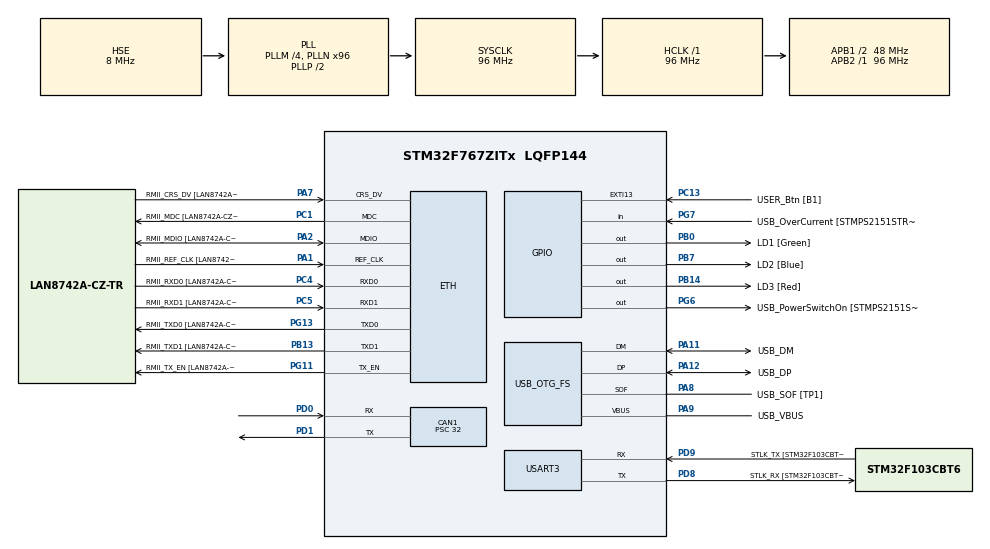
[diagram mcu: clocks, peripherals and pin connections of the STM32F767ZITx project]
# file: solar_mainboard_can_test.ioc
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CAN1.CalculateBaudRate=500000
CAN1.CalculateTimeBit=2000
CAN1.CalculateTimeQuantum=666.6666666666666
CAN1.NART=ENABLE
CAN1.Prescaler=32
ETH.MediaInterface=HAL_ETH_RMII_MODE
ETH.PHY_Name=LAN8742A_PHY_ADDRESS
ETH.PHY_Value=0
ETH.PhyAddress=0
Mcu.Family=STM32F7
Mcu.Name=STM32F767ZITx
Mcu.Package=LQFP144
NVIC.PriorityGroup=NVIC_PRIORITYGROUP_4
PA1.GPIO_Label=RMII_REF_CLK [LAN8742A-CZ-TR_REFCLK0]
PA1.Mode=RMII
PA1.Signal=ETH_REF_CLK
PA10.GPIO_Label=USB_ID
PA10.Signal=USB_OTG_FS_ID
PA11.GPIO_Label=USB_DM
PA11.Mode=Device_Only
PA11.Signal=USB_OTG_FS_DM
PA12.GPIO_Label=USB_DP
PA12.Mode=Device_Only
PA12.Signal=USB_OTG_FS_DP
PA13.GPIO_Label=TMS
PA13.Mode=Serial_Wire
PA13.Signal=SYS_JTMS-SWDIO
PA14.GPIO_Label=TCK
PA14.Mode=Serial_Wire
PA14.Signal=SYS_JTCK-SWCLK
PA2.GPIO_Label=RMII_MDIO [LAN8742A-CZ-TR_MDIO]
PA2.Mode=RMII
PA2.Signal=ETH_MDIO
PA7.GPIO_Label=RMII_CRS_DV [LAN8742A-CZ-TR_CRS_DV]
PA7.Mode=RMII
PA7.Signal=ETH_CRS_DV
PA8.GPIO_Label=USB_SOF [TP1]
PA8.Mode=Activate_SOF_FS
PA8.Signal=USB_OTG_FS_SOF
PA9.GPIO_Label=USB_VBUS
PA9.Mode=Activate_VBUS
PA9.Signal=USB_OTG_FS_VBUS
PB0.GPIO_Label=LD1 [Green]
PB0.Signal=GPIO_Output
PB13.GPIO_Label=RMII_TXD1 [LAN8742A-CZ-TR_TXD1]
PB13.Mode=RMII
PB13.Signal=ETH_TXD1
PB14.GPIO_Label=LD3 [Red]
PB14.Signal=GPIO_Output
PB3.GPIO_Label=SWO
PB3.Signal=SYS_JTDO-SWO
PB7.GPIO_Label=LD2 [Blue]
PB7.Signal=GPIO_Output
PC1.GPIO_Label=RMII_MDC [LAN8742A-CZ-TR_MDC]
PC1.Mode=RMII
PC1.Signal=ETH_MDC
PC13.GPIO_Label=USER_Btn [B1]
PC13.Signal=GPXTI13
PC14/OSC32_IN.Mode=LSE-External-Oscillator
PC14/OSC32_IN.Signal=RCC_OSC32_IN
PC15/OSC32_OUT.Mode=LSE-External-Oscillator
PC15/OSC32_OUT.Signal=RCC_OSC32_OUT
PC4.GPIO_Label=RMII_RXD0 [LAN8742A-CZ-TR_RXD0]
PC4.Mode=RMII
PC4.Signal=ETH_RXD0
PC5.GPIO_Label=RMII_RXD1 [LAN8742A-CZ-TR_RXD1]
PC5.Mode=RMII
PC5.Signal=ETH_RXD1
PD0.GPIO_PuPd=GPIO_PULLUP
PD0.Mode=CAN_Activate
PD0.Signal=CAN1_RX
PD1.Mode=CAN_Activate
PD1.Signal=CAN1_TX
PD8.GPIO_Label=STLK_RX [STM32F103CBT6_PA3]
PD8.Mode=Asynchronous
PD8.Signal=USART3_TX
PD9.GPIO_Label=STLK_TX [STM32F103CBT6_PA2]
PD9.Mode=Asynchronous
PD9.Signal=USART3_RX
PG11.GPIO_Label=RMII_TX_EN [LAN8742A-CZ-TR_TXEN]
PG11.Mode=RMII
PG11.Signal=ETH_TX_EN
PG13.GPIO_Label=RMII_TXD0 [LAN8742A-CZ-TR_TXD0]
PG13.Mode=RMII
PG13.Signal=ETH_TXD0
PG6.GPIO_Label=USB_PowerSwitchOn [STMPS2151STR_EN]
PG6.Signal=GPIO_Output
PG7.GPIO_Label=USB_OverCurrent [STMPS2151STR_FAULT]
PG7.Signal=GPIO_Input
PH0/OSC_IN.GPIO_Label=MCO [STM32F103CBT6_PA8]
PH0/OSC_IN.Mode=HSE-External-Clock-Source
PH0/OSC_IN.Signal=RCC_OSC_IN
PH1/OSC_OUT.Mode=HSE-External-Clock-Source
PH1/OSC_OUT.Signal=RCC_OSC_OUT
ProjectManager.HeapSize=0x200
ProjectManager.StackSize=0x400
ProjectManager.TargetToolchain=STM32CubeIDE
RCC.48MHZClocksFreq_Value=24000000
RCC.AHBFreq_Value=96000000
RCC.APB1CLKDivider=RCC_HCLK_DIV2
RCC.APB1Freq_Value=48000000
RCC.APB1TimFreq_Value=96000000
RCC.APB2Freq_Value=96000000
RCC.APB2TimFreq_Value=96000000
RCC.CortexFreq_Value=96000000
RCC.HCLKFreq_Value=96000000
RCC.HSE_VALUE=8000000
RCC.HSI_VALUE=16000000
RCC.PLLM=4
RCC.PLLMUL=RCC_PLL_MUL9
RCC.PLLN=96
RCC.PLLQ=4
RCC.PRESCALERUSB=RCC_USBCLKSOURCE_PLL_DIV1_5
RCC.SYSCLKFreq_VALUE=96000000
RCC.SYSCLKSource=RCC_SYSCLKSOURCE_PLLCLK
RCC.SYSCLKSourceVirtual=RCC_SYSCLKSOURCE_PLLCLK
RCC.USBFreq_Value=48000000
RCC.VCOOutputFreq_Value=192000000
USART3.VirtualMode-Asynchronous=VM_ASYNC
USB_OTG_FS.VirtualMode=Device_Only
board=NUCLEO-F767ZI

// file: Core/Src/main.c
/* USER CODE BEGIN Header */
/**
  ******************************************************************************
  * @file           : main.c
  * @brief          : Main program body
  ******************************************************************************
  * @attention
  *
  * Copyright (c) 2024 STMicroelectronics.
  * All rights reserved.
  *
  * This software is licensed under terms that can be found in the LICENSE file
  * in the root directory of this software component.
  * If no LICENSE file comes with this software, it is provided AS-IS.
  *
  ******************************************************************************
  */
/* USER CODE END Header */
#include "main.h"
#include "string.h"

#if defined ( __ICCARM__ ) /*!< IAR Compiler */
#pragma location=0x2007c000
ETH_DMADescTypeDef  DMARxDscrTab[ETH_RX_DESC_CNT]; /* Ethernet Rx DMA Descriptors */
#pragma location=0x2007c0a0
ETH_DMADescTypeDef  DMATxDscrTab[ETH_TX_DESC_CNT]; /* Ethernet Tx DMA Descriptors */

#elif defined ( __CC_ARM )  /* MDK ARM Compiler */

__attribute__((at(0x2007c000))) ETH_DMADescTypeDef  DMARxDscrTab[ETH_RX_DESC_CNT]; /* Ethernet Rx DMA Descriptors */
__attribute__((at(0x2007c0a0))) ETH_DMADescTypeDef  DMATxDscrTab[ETH_TX_DESC_CNT]; /* Ethernet Tx DMA Descriptors */

#elif defined ( __GNUC__ ) /* GNU Compiler */
ETH_DMADescTypeDef DMARxDscrTab[ETH_RX_DESC_CNT] __attribute__((section(".RxDecripSection"))); /* Ethernet Rx DMA Descriptors */
ETH_DMADescTypeDef DMATxDscrTab[ETH_TX_DESC_CNT] __attribute__((section(".TxDecripSection")));   /* Ethernet Tx DMA Descriptors */

#endif

ETH_TxPacketConfig TxConfig;

CAN_HandleTypeDef hcan1;

ETH_HandleTypeDef heth;

UART_HandleTypeDef huart3;

PCD_HandleTypeDef hpcd_USB_OTG_FS;

void SystemClock_Config(void);
static void MX_GPIO_Init(void);
static void MX_ETH_Init(void);
static void MX_USART3_UART_Init(void);
static void MX_USB_OTG_FS_PCD_Init(void);
static void MX_CAN1_Init(void);

/* USER CODE BEGIN 0 */
// print to serial port
void print(char *str) {
	HAL_UART_Transmit(&huart3, (uint8_t*) str, strlen(str), HAL_MAX_DELAY);
}
/* USER CODE END 0 */

int main(void)
{

  /* MCU Configuration--------------------------------------------------------*/

  /* Reset of all peripherals, Initializes the Flash interface and the Systick. */
  HAL_Init();

  /* Configure the system clock */
  SystemClock_Config();

  /* Initialize all configured peripherals */
  MX_GPIO_Init();
  MX_ETH_Init();
  MX_USART3_UART_Init();
  MX_USB_OTG_FS_PCD_Init();
  MX_CAN1_Init();
  /* USER CODE BEGIN 2 */

  HAL_CAN_Start(&hcan1);

  /* USER CODE END 2 */

  /* Infinite loop */
  while (1)
  {

    /* USER CODE BEGIN 3 */
	// send a test can message
	CAN_TxHeaderTypeDef TxHeader;
	uint32_t TxMailbox;
	uint8_t TxData[8] = {0, 1, 2, 3, 4, 5, 6, 7};
	TxHeader.StdId = 0x123;
	TxHeader.RTR = CAN_RTR_DATA;
	TxHeader.IDE = CAN_ID_STD;
	TxHeader.DLC = 8;
	if (HAL_CAN_AddTxMessage(&hcan1, &TxHeader, TxData, &TxMailbox) != HAL_OK) {
		print("Error in sending CAN message\r\n");
	} else {
		print("CAN message sent\r\n");
	}
	HAL_Delay(2000);
  }
  /* USER CODE END 3 */
}

void SystemClock_Config(void)
{
  RCC_OscInitTypeDef RCC_OscInitStruct = {0};
  RCC_ClkInitTypeDef RCC_ClkInitStruct = {0};

  /** Configure LSE Drive Capability
  */
  HAL_PWR_EnableBkUpAccess();

  /** Configure the main internal regulator output voltage
  */
  __HAL_RCC_PWR_CLK_ENABLE();
  __HAL_PWR_VOLTAGESCALING_CONFIG(PWR_REGULATOR_VOLTAGE_SCALE3);

  /** Initializes the RCC Oscillators according to the specified parameters
  * in the RCC_OscInitTypeDef structure.
  */
  RCC_OscInitStruct.OscillatorType = RCC_OSCILLATORTYPE_HSE;
  RCC_OscInitStruct.HSEState = RCC_HSE_BYPASS;
  RCC_OscInitStruct.PLL.PLLState = RCC_PLL_ON;
  RCC_OscInitStruct.PLL.PLLSource = RCC_PLLSOURCE_HSE;
  RCC_OscInitStruct.PLL.PLLM = 4;
  RCC_OscInitStruct.PLL.PLLN = 96;
  RCC_OscInitStruct.PLL.PLLP = RCC_PLLP_DIV2;
  RCC_OscInitStruct.PLL.PLLQ = 4;
  RCC_OscInitStruct.PLL.PLLR = 2;
  if (HAL_RCC_OscConfig(&RCC_OscInitStruct) != HAL_OK)
  {
    Error_Handler();
  }

  /** Activate the Over-Drive mode
  */
  if (HAL_PWREx_EnableOverDrive() != HAL_OK)
  {
    Error_Handler();
  }

  /** Initializes the CPU, AHB and APB buses clocks
  */
  RCC_ClkInitStruct.ClockType = RCC_CLOCKTYPE_HCLK|RCC_CLOCKTYPE_SYSCLK
                              |RCC_CLOCKTYPE_PCLK1|RCC_CLOCKTYPE_PCLK2;
  RCC_ClkInitStruct.SYSCLKSource = RCC_SYSCLKSOURCE_PLLCLK;
  RCC_ClkInitStruct.AHBCLKDivider = RCC_SYSCLK_DIV1;
  RCC_ClkInitStruct.APB1CLKDivider = RCC_HCLK_DIV2;
  RCC_ClkInitStruct.APB2CLKDivider = RCC_HCLK_DIV1;

  if (HAL_RCC_ClockConfig(&RCC_ClkInitStruct, FLASH_LATENCY_3) != HAL_OK)
  {
    Error_Handler();
  }
}

static void MX_CAN1_Init(void)
{

  hcan1.Instance = CAN1;
  hcan1.Init.Prescaler = 32;
  hcan1.Init.Mode = CAN_MODE_NORMAL;
  hcan1.Init.SyncJumpWidth = CAN_SJW_1TQ;
  hcan1.Init.TimeSeg1 = CAN_BS1_1TQ;
  hcan1.Init.TimeSeg2 = CAN_BS2_1TQ;
  hcan1.Init.TimeTriggeredMode = DISABLE;
  hcan1.Init.AutoBusOff = DISABLE;
  hcan1.Init.AutoWakeUp = DISABLE;
  hcan1.Init.AutoRetransmission = ENABLE;
  hcan1.Init.ReceiveFifoLocked = DISABLE;
  hcan1.Init.TransmitFifoPriority = DISABLE;
  if (HAL_CAN_Init(&hcan1) != HAL_OK)
  {
    Error_Handler();
  }

}

static void MX_ETH_Init(void)
{

   static uint8_t MACAddr[6];

  heth.Instance = ETH;
  MACAddr[0] = 0x00;
  MACAddr[1] = 0x80;
  MACAddr[2] = 0xE1;
  MACAddr[3] = 0x00;
  MACAddr[4] = 0x00;
  MACAddr[5] = 0x00;
  heth.Init.MACAddr = &MACAddr[0];
  heth.Init.MediaInterface = HAL_ETH_RMII_MODE;
  heth.Init.TxDesc = DMATxDscrTab;
  heth.Init.RxDesc = DMARxDscrTab;
  heth.Init.RxBuffLen = 1524;

  if (HAL_ETH_Init(&heth) != HAL_OK)
  {
    Error_Handler();
  }

  memset(&TxConfig, 0 , sizeof(ETH_TxPacketConfig));
  TxConfig.Attributes = ETH_TX_PACKETS_FEATURES_CSUM | ETH_TX_PACKETS_FEATURES_CRCPAD;
  TxConfig.ChecksumCtrl = ETH_CHECKSUM_IPHDR_PAYLOAD_INSERT_PHDR_CALC;
  TxConfig.CRCPadCtrl = ETH_CRC_PAD_INSERT;

}

static void MX_USART3_UART_Init(void)
{

  huart3.Instance = USART3;
  huart3.Init.BaudRate = 115200;
  huart3.Init.WordLength = UART_WORDLENGTH_8B;
  huart3.Init.StopBits = UART_STOPBITS_1;
  huart3.Init.Parity = UART_PARITY_NONE;
  huart3.Init.Mode = UART_MODE_TX_RX;
  huart3.Init.HwFlowCtl = UART_HWCONTROL_NONE;
  huart3.Init.OverSampling = UART_OVERSAMPLING_16;
  huart3.Init.OneBitSampling = UART_ONE_BIT_SAMPLE_DISABLE;
  huart3.AdvancedInit.AdvFeatureInit = UART_ADVFEATURE_NO_INIT;
  if (HAL_UART_Init(&huart3) != HAL_OK)
  {
    Error_Handler();
  }

}

static void MX_USB_OTG_FS_PCD_Init(void)
{

  hpcd_USB_OTG_FS.Instance = USB_OTG_FS;
  hpcd_USB_OTG_FS.Init.dev_endpoints = 6;
  hpcd_USB_OTG_FS.Init.speed = PCD_SPEED_FULL;
  hpcd_USB_OTG_FS.Init.dma_enable = DISABLE;
  hpcd_USB_OTG_FS.Init.phy_itface = PCD_PHY_EMBEDDED;
  hpcd_USB_OTG_FS.Init.Sof_enable = ENABLE;
  hpcd_USB_OTG_FS.Init.low_power_enable = DISABLE;
  hpcd_USB_OTG_FS.Init.lpm_enable = DISABLE;
  hpcd_USB_OTG_FS.Init.vbus_sensing_enable = ENABLE;
  hpcd_USB_OTG_FS.Init.use_dedicated_ep1 = DISABLE;
  if (HAL_PCD_Init(&hpcd_USB_OTG_FS) != HAL_OK)
  {
    Error_Handler();
  }

}

static void MX_GPIO_Init(void)
{
  GPIO_InitTypeDef GPIO_InitStruct = {0};

  /* GPIO Ports Clock Enable */
  __HAL_RCC_GPIOC_CLK_ENABLE();
  __HAL_RCC_GPIOH_CLK_ENABLE();
  __HAL_RCC_GPIOA_CLK_ENABLE();
  __HAL_RCC_GPIOB_CLK_ENABLE();
  __HAL_RCC_GPIOD_CLK_ENABLE();
  __HAL_RCC_GPIOG_CLK_ENABLE();

  /*Configure GPIO pin Output Level */
  HAL_GPIO_WritePin(GPIOB, LD1_Pin|LD3_Pin|LD2_Pin, GPIO_PIN_RESET);

  /*Configure GPIO pin Output Level */
  HAL_GPIO_WritePin(USB_PowerSwitchOn_GPIO_Port, USB_PowerSwitchOn_Pin, GPIO_PIN_RESET);

  /*Configure GPIO pin : USER_Btn_Pin */
  GPIO_InitStruct.Pin = USER_Btn_Pin;
  GPIO_InitStruct.Mode = GPIO_MODE_IT_RISING;
  GPIO_InitStruct.Pull = GPIO_NOPULL;
  HAL_GPIO_Init(USER_Btn_GPIO_Port, &GPIO_InitStruct);

  /*Configure GPIO pins : LD1_Pin LD3_Pin LD2_Pin */
  GPIO_InitStruct.Pin = LD1_Pin|LD3_Pin|LD2_Pin;
  GPIO_InitStruct.Mode = GPIO_MODE_OUTPUT_PP;
  GPIO_InitStruct.Pull = GPIO_NOPULL;
  GPIO_InitStruct.Speed = GPIO_SPEED_FREQ_LOW;
  HAL_GPIO_Init(GPIOB, &GPIO_InitStruct);

  /*Configure GPIO pin : USB_PowerSwitchOn_Pin */
  GPIO_InitStruct.Pin = USB_PowerSwitchOn_Pin;
  GPIO_InitStruct.Mode = GPIO_MODE_OUTPUT_PP;
  GPIO_InitStruct.Pull = GPIO_NOPULL;
  GPIO_InitStruct.Speed = GPIO_SPEED_FREQ_LOW;
  HAL_GPIO_Init(USB_PowerSwitchOn_GPIO_Port, &GPIO_InitStruct);

  /*Configure GPIO pin : USB_OverCurrent_Pin */
  GPIO_InitStruct.Pin = USB_OverCurrent_Pin;
  GPIO_InitStruct.Mode = GPIO_MODE_INPUT;
  GPIO_InitStruct.Pull = GPIO_NOPULL;
  HAL_GPIO_Init(USB_OverCurrent_GPIO_Port, &GPIO_InitStruct);

}

void Error_Handler(void)
{
  __disable_irq();
  while (1)
  {
  }
}
